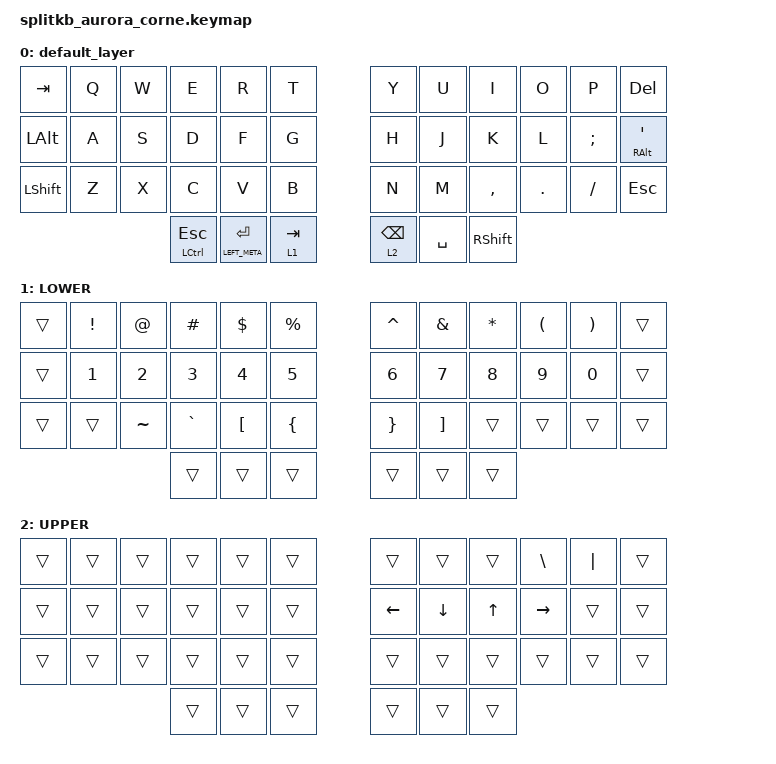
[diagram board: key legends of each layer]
/*
 * Copyright (c) 2020 The ZMK Contributors
 *
 * SPDX-License-Identifier: MIT
 */

#include <behaviors.dtsi>
#include <dt-bindings/zmk/keys.h>

/ {
    combos {
        compatible = "zmk,combos";

        JK_ESC {
            bindings = <&kp ESC>;
            key-positions = <19 20>;
        };
    };

    keymap {
        compatible = "zmk,keymap";

        default_layer {
            // -----------------------------------------------------------------------------------------
            // |  TAB |  Q  |  W  |  E  |  R  |  T  |   |  Y  |  U   |  I  |  O  |  P  | BSPC |
            // | SHFT |  A  |  S  |  D  |  F  |  G  |   |  H  |  J   |  K  |  L  |  ;  |  '   |
            // | CTRL |  Z  |  X  |  C  |  V  |  B  |   |  N  |  M   |  ,  |  .  |  /  | ESC  |
            //                    | GUI | LWR | SPC |   | ENT | RSE  | ALT |

            bindings = <
&kp TAB         &kp Q  &kp W  &kp E             &kp R                &kp T        &kp Y            &kp U      &kp I            &kp O    &kp P     &kp DELETE
&kp LEFT_ALT    &kp A  &kp S  &kp D             &kp F                &kp G        &kp H            &kp J      &kp K            &kp L    &kp SEMI  &mt RIGHT_ALT SQT
&kp LEFT_SHIFT  &kp Z  &kp X  &kp C             &kp V                &kp B        &kp N            &kp M      &kp COMMA        &kp DOT  &kp FSLH  &kp ESC
                              &mt LCTRL ESCAPE  &mt LEFT_META ENTER  &lt 1 TAB    &lt 2 BACKSPACE  &kp SPACE  &kp RIGHT_SHIFT
            >;
        };

        LOWER {
            bindings = <
&trans  &kp EXCL      &kp AT_SIGN   &kp HASH      &kp DOLLAR        &kp PERCENT       &kp CARET        &kp AMPERSAND      &kp ASTERISK  &kp LEFT_PARENTHESIS  &kp RIGHT_PARENTHESIS  &trans
&trans  &kp NUMBER_1  &kp NUMBER_2  &kp NUMBER_3  &kp NUMBER_4      &kp N5            &kp NUMBER_6     &kp NUMBER_7       &kp NUMBER_8  &kp NUMBER_9          &kp NUMBER_0           &trans
&trans  &trans        &kp TILDE     &kp GRAVE     &kp LEFT_BRACKET  &kp LEFT_BRACE    &kp RIGHT_BRACE  &kp RIGHT_BRACKET  &trans        &trans                &trans                 &trans
                                    &trans        &trans            &trans            &trans           &trans             &trans
            >;
        };

        UPPER {
            bindings = <
&trans  &trans  &trans  &trans  &trans  &trans    &trans          &trans    &trans        &kp BACKSLASH  &kp PIPE  &trans
&trans  &trans  &trans  &trans  &trans  &trans    &kp LEFT_ARROW  &kp DOWN  &kp UP_ARROW  &kp RIGHT      &trans    &trans
&trans  &trans  &trans  &trans  &trans  &trans    &trans          &trans    &trans        &trans         &trans    &trans
                        &trans  &trans  &trans    &trans          &trans    &trans
            >;
        };
    };
};
